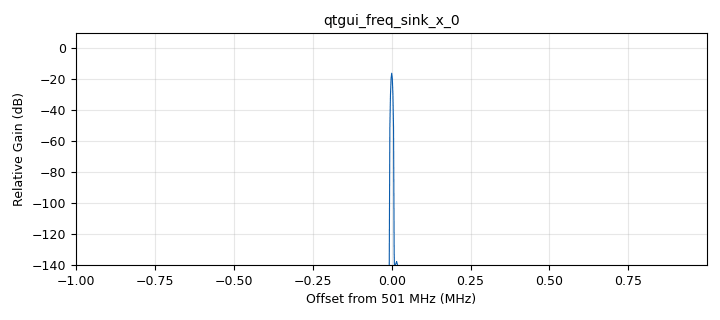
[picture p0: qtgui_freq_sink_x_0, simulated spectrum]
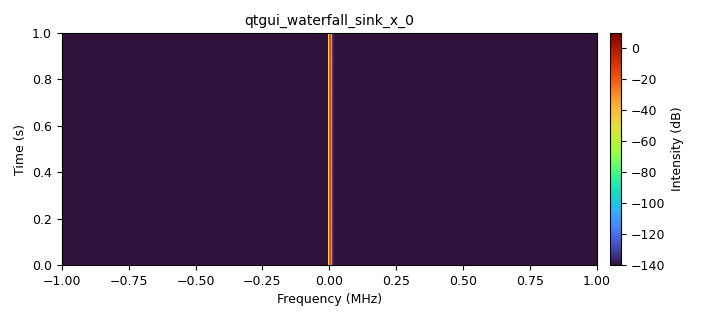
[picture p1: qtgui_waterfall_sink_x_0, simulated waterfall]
<?xml version='1.0' encoding='utf-8'?>
<?grc format='1' created='3.7.11'?>
<flow_graph>
<block>
<key>options</key>
<param><key>id</key><value>spectrum_analyzer</value></param>
<param><key>author</key><value>Leandro Aurelio</value></param>
<param><key>description</key><value>spec.analyzer</value></param>
<param><key>generate_options</key><value>qt_gui</value></param>
<param><key>title</key><value>Spectrum Analyzer</value></param>
</block>
<block>
<key>variable_qtgui_range</key>
<param><key>id</key><value>bandwidth</value></param>
<param><key>value</key><value>2e6</value></param>
<param><key>orient</key><value>Qt.Horizontal</value></param>
<param><key>start</key><value>3e3</value></param>
<param><key>step</key><value>100</value></param>
<param><key>stop</key><value>3e6</value></param>
</block>
<block>
<key>variable_qtgui_range</key>
<param><key>id</key><value>frequency</value></param>
<param><key>value</key><value>501.0e6</value></param>
<param><key>orient</key><value>Qt.Horizontal</value></param>
<param><key>start</key><value>25e6</value></param>
<param><key>step</key><value>1000</value></param>
<param><key>stop</key><value>1750e6</value></param>
</block>
<block>
<key>variable_qtgui_chooser</key>
<param><key>id</key><value>rf_gain</value></param>
<param><key>value</key><value>0</value></param>
<param><key>label0</key><value>0</value></param>
<param><key>label1</key><value>20</value></param>
<param><key>label2</key><value>40</value></param>
<param><key>num_opts</key><value>3</value></param>
<param><key>option0</key><value>0</value></param>
<param><key>option1</key><value>20</value></param>
<param><key>option2</key><value>40</value></param>
<param><key>type</key><value>int</value></param>
</block>
<block>
<key>variable_function_probe</key>
<param><key>id</key><value>variable_function_probe_0</value></param>
<param><key>block_id</key><value>prob_sign</value></param>
<param><key>function_name</key><value>get_number</value></param>
<param><key>value</key><value>0</value></param>
<param><key>poll_rate</key><value>10</value></param>
</block>
<block>
<key>analog_const_source_x</key>
<param><key>id</key><value>analog_const_source_x_0</value></param>
<param><key>const</key><value>rf_gain</value></param>
<param><key>type</key><value>float</value></param>
</block>
<block>
<key>analog_const_source_x</key>
<param><key>id</key><value>analog_const_source_x_0_0</value></param>
<param><key>const</key><value>rf_gain</value></param>
<param><key>type</key><value>float</value></param>
</block>
<block>
<key>analog_const_source_x</key>
<param><key>id</key><value>analog_const_source_x_1</value></param>
<param><key>const</key><value>2.278</value></param>
<param><key>type</key><value>complex</value></param>
</block>
<block>
<key>analog_sig_source_x</key>
<param><key>id</key><value>analog_sig_source_x_0</value></param>
<param><key>amp</key><value>1</value></param>
<param><key>freq</key><value>1000</value></param>
<param><key>offset</key><value>0</value></param>
<param><key>type</key><value>complex</value></param>
<param><key>samp_rate</key><value>frequency</value></param>
<param><key>waveform</key><value>analog.GR_COS_WAVE</value></param>
</block>
<block>
<key>blocks_add_const_vxx</key>
<param><key>id</key><value>blocks_add_const_vxx_0</value></param>
<param><key>const</key><value>1</value></param>
<param><key>type</key><value>complex</value></param>
</block>
<block>
<key>blocks_add_const_vxx</key>
<param><key>id</key><value>blocks_add_const_vxx_0_0</value></param>
<param><key>const</key><value>1</value></param>
<param><key>type</key><value>complex</value></param>
</block>
<block>
<key>blocks_complex_to_mag_squared</key>
<param><key>id</key><value>blocks_complex_to_mag_squared_0</value></param>
</block>
<block>
<key>blocks_divide_xx</key>
<param><key>id</key><value>blocks_divide_xx_0</value></param>
<param><key>type</key><value>complex</value></param>
<param><key>num_inputs</key><value>4</value></param>
</block>
<block>
<key>blocks_file_sink</key>
<param><key>id</key><value>blocks_file_sink_0</value></param>
<param><key>_enabled</key><value>0</value></param>
<param><key>file</key><value>/home/laurelio/teste0804</value></param>
<param><key>type</key><value>complex</value></param>
</block>
<block>
<key>blocks_float_to_complex</key>
<param><key>id</key><value>blocks_float_to_complex_0</value></param>
</block>
<block>
<key>blocks_float_to_complex</key>
<param><key>id</key><value>blocks_float_to_complex_0_0</value></param>
</block>
<block>
<key>blocks_max_xx</key>
<param><key>id</key><value>blocks_max_xx_0</value></param>
<param><key>type</key><value>float</value></param>
</block>
<block>
<key>blocks_moving_average_xx</key>
<param><key>id</key><value>blocks_moving_average_xx_0</value></param>
<param><key>length</key><value>50000</value></param>
<param><key>max_iter</key><value>4000</value></param>
<param><key>scale</key><value>20</value></param>
<param><key>type</key><value>float</value></param>
</block>
<block>
<key>blocks_multiply_const_vxx</key>
<param><key>id</key><value>blocks_multiply_const_vxx_0</value></param>
<param><key>const</key><value>15.75</value></param>
<param><key>type</key><value>complex</value></param>
</block>
<block>
<key>blocks_multiply_const_vxx</key>
<param><key>id</key><value>blocks_multiply_const_vxx_0_0</value></param>
<param><key>const</key><value>7.1</value></param>
<param><key>type</key><value>complex</value></param>
</block>
<block>
<key>blocks_nlog10_ff</key>
<param><key>id</key><value>blocks_nlog10_ff_0</value></param>
<param><key>k</key><value>0</value></param>
<param><key>n</key><value>10</value></param>
</block>
<block>
<key>blocks_threshold_ff</key>
<param><key>id</key><value>blocks_threshold_ff_0</value></param>
<param><key>high</key><value>18</value></param>
<param><key>init</key><value>0</value></param>
<param><key>low</key><value>5</value></param>
</block>
<block>
<key>blocks_threshold_ff</key>
<param><key>id</key><value>blocks_threshold_ff_0_0</value></param>
<param><key>high</key><value>32</value></param>
<param><key>init</key><value>0</value></param>
<param><key>low</key><value>21</value></param>
</block>
<block>
<key>osmosdr_source</key>
<param><key>id</key><value>osmosdr_source_0</value></param>
<param><key>bb_gain0</key><value>20</value></param>
<param><key>dc_offset_mode0</key><value>2</value></param>
<param><key>freq0</key><value>frequency</value></param>
<param><key>gain_mode0</key><value>False</value></param>
<param><key>if_gain0</key><value>20</value></param>
<param><key>iq_balance_mode0</key><value>2</value></param>
<param><key>gain0</key><value>rf_gain</value></param>
<param><key>args</key><value></value></param>
<param><key>_enabled</key><value>0</value></param>
<param><key>type</key><value>fc32</value></param>
<param><key>sample_rate</key><value>bandwidth</value></param>
<param><key>sync</key><value></value></param>
</block>
<block>
<key>blocks_probe_signal_x</key>
<param><key>id</key><value>prob_sign</value></param>
<param><key>type</key><value>float</value></param>
</block>
<block>
<key>qtgui_freq_sink_x</key>
<param><key>id</key><value>qtgui_freq_sink_x_0</value></param>
<param><key>bw</key><value>bandwidth</value></param>
<param><key>fc</key><value>frequency</value></param>
<param><key>fftsize</key><value>1024</value></param>
<param><key>showports</key><value>True</value></param>
<param><key>type</key><value>complex</value></param>
<param><key>wintype</key><value>firdes.WIN_BLACKMAN_hARRIS</value></param>
</block>
<block>
<key>qtgui_number_sink</key>
<param><key>id</key><value>qtgui_number_sink_0</value></param>
<param><key>autoscale</key><value>True</value></param>
<param><key>graph_type</key><value>qtgui.NUM_GRAPH_HORIZ</value></param>
<param><key>type</key><value>float</value></param>
</block>
<block>
<key>qtgui_waterfall_sink_x</key>
<param><key>id</key><value>qtgui_waterfall_sink_x_0</value></param>
<param><key>bw</key><value>bandwidth</value></param>
<param><key>fc</key><value>0</value></param>
<param><key>fftsize</key><value>1024</value></param>
<param><key>showports</key><value>True</value></param>
<param><key>type</key><value>complex</value></param>
<param><key>wintype</key><value>firdes.WIN_BLACKMAN_hARRIS</value></param>
</block>
<connection><source_block_id>analog_const_source_x_0</source_block_id><sink_block_id>blocks_threshold_ff_0</sink_block_id><source_key>0</source_key><sink_key>0</sink_key></connection>
<connection><source_block_id>analog_const_source_x_0_0</source_block_id><sink_block_id>blocks_threshold_ff_0_0</sink_block_id><source_key>0</source_key><sink_key>0</sink_key></connection>
<connection><source_block_id>analog_const_source_x_1</source_block_id><sink_block_id>blocks_divide_xx_0</sink_block_id><source_key>0</source_key><sink_key>1</sink_key></connection>
<connection><source_block_id>analog_sig_source_x_0</source_block_id><sink_block_id>blocks_complex_to_mag_squared_0</sink_block_id><source_key>0</source_key><sink_key>0</sink_key></connection>
<connection><source_block_id>analog_sig_source_x_0</source_block_id><sink_block_id>blocks_divide_xx_0</sink_block_id><source_key>0</source_key><sink_key>0</sink_key></connection>
<connection><source_block_id>blocks_add_const_vxx_0</source_block_id><sink_block_id>blocks_divide_xx_0</sink_block_id><source_key>0</source_key><sink_key>2</sink_key></connection>
<connection><source_block_id>blocks_add_const_vxx_0_0</source_block_id><sink_block_id>blocks_divide_xx_0</sink_block_id><source_key>0</source_key><sink_key>3</sink_key></connection>
<connection><source_block_id>blocks_complex_to_mag_squared_0</source_block_id><sink_block_id>blocks_max_xx_0</sink_block_id><source_key>0</source_key><sink_key>0</sink_key></connection>
<connection><source_block_id>blocks_divide_xx_0</source_block_id><sink_block_id>blocks_file_sink_0</sink_block_id><source_key>0</source_key><sink_key>0</sink_key></connection>
<connection><source_block_id>blocks_divide_xx_0</source_block_id><sink_block_id>qtgui_freq_sink_x_0</sink_block_id><source_key>0</source_key><sink_key>0</sink_key></connection>
<connection><source_block_id>blocks_divide_xx_0</source_block_id><sink_block_id>qtgui_waterfall_sink_x_0</sink_block_id><source_key>0</source_key><sink_key>0</sink_key></connection>
<connection><source_block_id>blocks_float_to_complex_0</source_block_id><sink_block_id>blocks_multiply_const_vxx_0</sink_block_id><source_key>0</source_key><sink_key>0</sink_key></connection>
<connection><source_block_id>blocks_float_to_complex_0_0</source_block_id><sink_block_id>blocks_multiply_const_vxx_0_0</sink_block_id><source_key>0</source_key><sink_key>0</sink_key></connection>
<connection><source_block_id>blocks_max_xx_0</source_block_id><sink_block_id>blocks_moving_average_xx_0</sink_block_id><source_key>0</source_key><sink_key>0</sink_key></connection>
<connection><source_block_id>blocks_max_xx_0</source_block_id><sink_block_id>qtgui_number_sink_0</sink_block_id><source_key>0</source_key><sink_key>0</sink_key></connection>
<connection><source_block_id>blocks_moving_average_xx_0</source_block_id><sink_block_id>blocks_nlog10_ff_0</sink_block_id><source_key>0</source_key><sink_key>0</sink_key></connection>
<connection><source_block_id>blocks_multiply_const_vxx_0</source_block_id><sink_block_id>blocks_add_const_vxx_0</sink_block_id><source_key>0</source_key><sink_key>0</sink_key></connection>
<connection><source_block_id>blocks_multiply_const_vxx_0_0</source_block_id><sink_block_id>blocks_add_const_vxx_0_0</sink_block_id><source_key>0</source_key><sink_key>0</sink_key></connection>
<connection><source_block_id>blocks_nlog10_ff_0</source_block_id><sink_block_id>prob_sign</sink_block_id><source_key>0</source_key><sink_key>0</sink_key></connection>
<connection><source_block_id>blocks_threshold_ff_0</source_block_id><sink_block_id>blocks_float_to_complex_0</sink_block_id><source_key>0</source_key><sink_key>1</sink_key></connection>
<connection><source_block_id>blocks_threshold_ff_0</source_block_id><sink_block_id>blocks_float_to_complex_0</sink_block_id><source_key>0</source_key><sink_key>0</sink_key></connection>
<connection><source_block_id>blocks_threshold_ff_0_0</source_block_id><sink_block_id>blocks_float_to_complex_0_0</sink_block_id><source_key>0</source_key><sink_key>1</sink_key></connection>
<connection><source_block_id>blocks_threshold_ff_0_0</source_block_id><sink_block_id>blocks_float_to_complex_0_0</sink_block_id><source_key>0</source_key><sink_key>0</sink_key></connection>
<connection><source_block_id>osmosdr_source_0</source_block_id><sink_block_id>blocks_complex_to_mag_squared_0</sink_block_id><source_key>0</source_key><sink_key>0</sink_key></connection>
<connection><source_block_id>osmosdr_source_0</source_block_id><sink_block_id>blocks_divide_xx_0</sink_block_id><source_key>0</source_key><sink_key>0</sink_key></connection>
</flow_graph>
